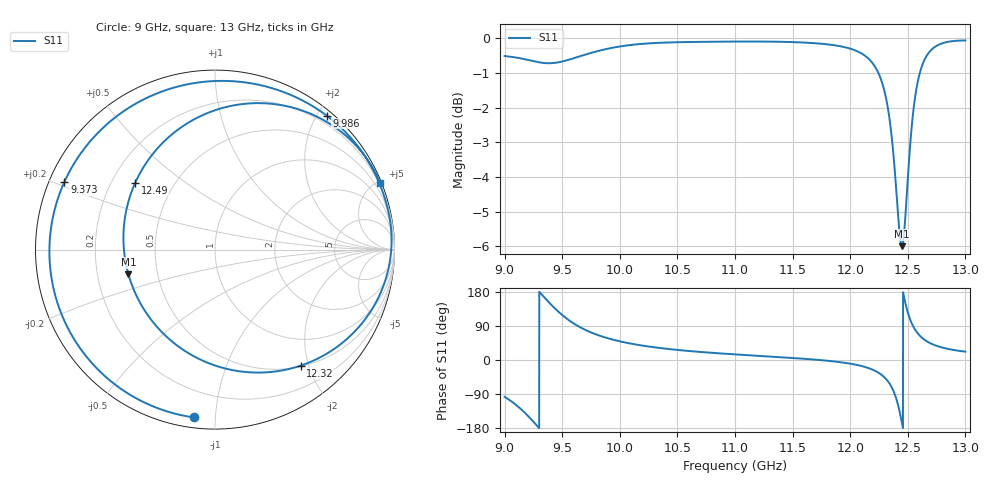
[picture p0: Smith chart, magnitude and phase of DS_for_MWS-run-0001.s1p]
! TOUCHSTONE file generated by CST DESIGN STUDIO
! Date and time: Tue Feb  4 13:14:45 2025
! Project name: C:\Work\MatlabApps\UnitCellOptimizationMatlab\CST\unitcell.cst
! Tree item: Tasks\Sweep1\SPara1\S-Parameters
! Header version: 2024
! Port assignment regex: !\s*Touchstone port\s*([0-9]+)\s*=\s*(CST MWS port|CST DES external port|CST DES block port)\s*(.+)\s* \(\"(.*)\"\)(\s*mode\s*([0-9]+))?.*
! Touchstone port assignment:
! Touchstone port 1 = CST DES external port 1 ("")
# GHz S MA R 50
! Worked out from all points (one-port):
!   4001 points, 9 GHz to 13 GHz, reference 50 ohm
!   lowest |S11| = -6.0 dB at 12.45 GHz (marker M1), VSWR 3.01, Z = 16.9 - j6.18 ohm
!   |S11| at or under -10 dB: nowhere
!   S11 on the Smith chart (normalised r, x): 9 GHz: 0.05, -0.88; 9.373 GHz: 0.04, +0.21; 9.986 GHz: 0.08, +2.13; 12.32 GHz: 0.51, -1.87; 12.49 GHz: 0.30, +0.34; 13 GHz: 0.11, +5.13
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9  0.9423 -97.3
9.088  0.9381 -115.8
9.167  0.933 -136.8
9.275  0.9244 -171.2
9.373  0.92 155.8
9.5  0.9253 118.6
9.599  0.9352 96.5
9.728  0.9497 75.6
9.986  0.9717 50.2
10  0.9725 49.3
10.5  0.9864 26.6
11  0.9885 14.8
11.5  0.9868 5.3
12  0.9656 -9.6
12.206  0.9145 -27.1
12.27  0.8694 -38.6
12.321  0.8037 -53.6
12.392  0.6289 -94.5
12.419  0.5465 -122.9
12.448  0.5015 -164.1
12.487  0.58 140.0
12.5  0.6272 125.4
12.529  0.7298 100.3
12.562  0.819 80.7
12.613  0.9011 61.5
12.672  0.9475 48.1
12.797  0.9826 33.0
13  0.9922 22.0
